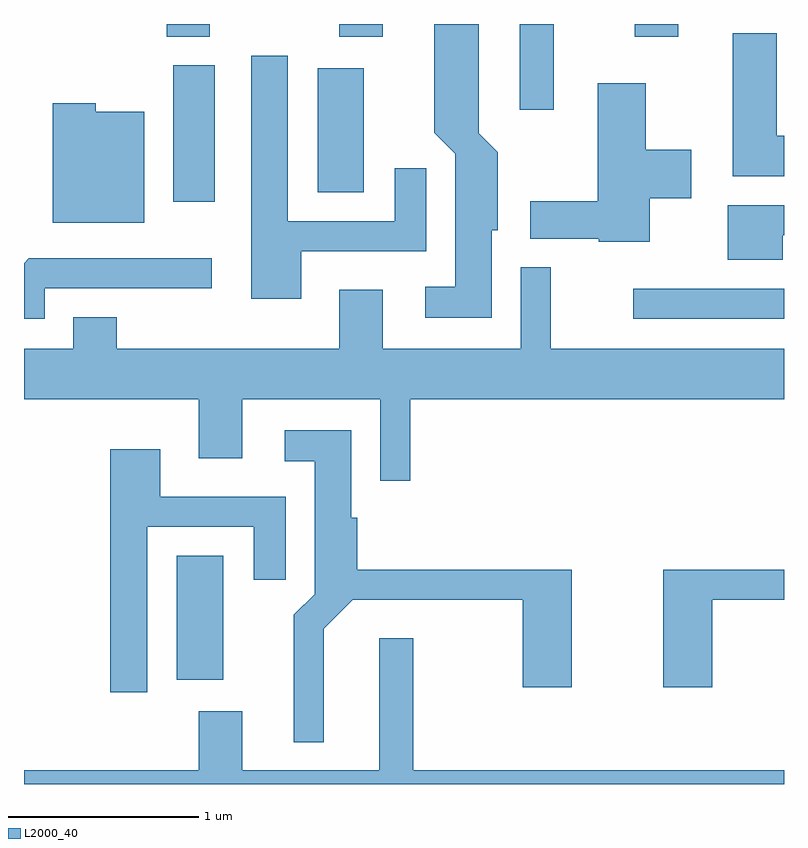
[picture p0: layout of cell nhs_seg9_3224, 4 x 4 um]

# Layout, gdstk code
import gdstk
lib = gdstk.Library(unit=1e-6, precision=1e-09)
def R(c, l, rs):  # rectangles x0, y0, x1, y1
    for r in rs: c.add(gdstk.rectangle(r[:2], r[2:], *l))
def P(c, l, *ps):  # polygons
    for p in ps: c.add(gdstk.Polygon(p, *l))
L2000_40 = (2000, 40)

nhs_seg9_3224 = lib.new_cell('nhs_seg9_3224')
R(nhs_seg9_3224, L2000_40, [(280.416,2016.981,280.659,2017.634), (282.818,2018.881,283.611,2019.039), (280.396,2019.496,280.614,2020.214), (281.156,2019.546,281.399,2020.199), (282.221,2019.981,282.399,2020.432), (280.361,2020.366,280.589,2020.432), (281.271,2020.366,281.499,2020.432), (282.826,2020.366,283.054,2020.432)])
P(nhs_seg9_3224, L2000_40, [(282.074,2019.346),(282.104,2019.346),(282.104,2019.757),(282.004,2019.857),(282.004,2020.432),(281.771,2020.432),(281.771,2019.859),(281.881,2019.749),(281.881,2019.049),(281.723,2019.049),(281.723,2018.886),(282.074,2018.886)],
  [(283.611,2019.844),(283.574,2019.844),(283.574,2020.384),(283.341,2020.384),(283.341,2019.631),(283.611,2019.631)],
  [(281.069,2019.236),(281.729,2019.236),(281.729,2019.673),(281.561,2019.673),(281.561,2019.394),(280.999,2019.394),(280.999,2020.264),(280.806,2020.264),(280.806,2018.986),(281.069,2018.986)],
  [(282.904,2019.516),(283.124,2019.516),(283.124,2019.769),(282.884,2019.769),(282.884,2020.119),(282.631,2020.119),(282.631,2019.499),(282.276,2019.499),(282.276,2019.301),(282.635,2019.301),(282.635,2019.286),(282.904,2019.286)],
  [(280.244,2019.969),(279.989,2019.969),(279.989,2020.014),(279.761,2020.014),(279.761,2019.386),(280.244,2019.386)],
  [(283.604,2019.321),(283.611,2019.321),(283.611,2019.479),(283.316,2019.479),(283.316,2019.191),(283.604,2019.191)],
  [(279.719,2019.041),(280.598,2019.041),(280.598,2019.199),(279.637,2019.199),(279.611,2019.173),(279.611,2018.881),(279.719,2018.881)],
  [(281.644,2018.456),(283.611,2018.456),(283.611,2018.724),(282.384,2018.724),(282.384,2019.153),(282.226,2019.153),(282.226,2018.724),(281.499,2018.724),(281.499,2019.034),(281.271,2019.034),(281.271,2018.724),(280.099,2018.724),(280.099,2018.889),(279.871,2018.889),(279.871,2018.724),(279.611,2018.724),(279.611,2018.456),(280.531,2018.456),(280.531,2018.146),(280.759,2018.146),(280.759,2018.456),(281.486,2018.456),(281.486,2018.028),(281.644,2018.028)],
  [(281.189,2017.249),(281.342,2017.401),(282.236,2017.401),(282.236,2016.941),(282.494,2016.941),(282.494,2017.559),(281.364,2017.559),(281.364,2017.834),(281.334,2017.834),(281.334,2018.294),(280.983,2018.294),(280.983,2018.131),(281.141,2018.131),(281.141,2017.432),(281.031,2017.322),(281.031,2016.653),(281.189,2016.653)],
  [(280.259,2017.786),(280.821,2017.786),(280.821,2017.508),(280.989,2017.508),(280.989,2017.944),(280.329,2017.944),(280.329,2018.194),(280.066,2018.194),(280.066,2016.916),(280.259,2016.916)],
  [(283.234,2017.401),(283.611,2017.401),(283.611,2017.559),(282.976,2017.559),(282.976,2016.941),(283.234,2016.941)],
  [(283.611,2016.504),(281.659,2016.504),(281.659,2017.199),(281.481,2017.199),(281.481,2016.504),(280.759,2016.504),(280.759,2016.814),(280.531,2016.814),(280.531,2016.504),(279.611,2016.504),(279.611,2016.432),(283.611,2016.432)])

lib.write_gds('nhs_seg9_3224.gds')
